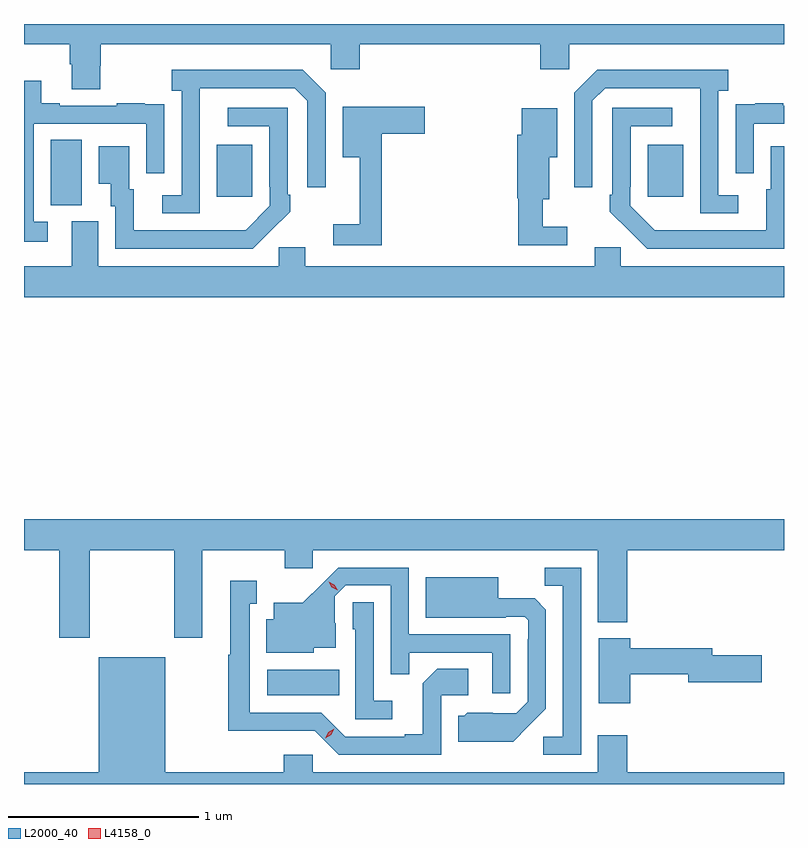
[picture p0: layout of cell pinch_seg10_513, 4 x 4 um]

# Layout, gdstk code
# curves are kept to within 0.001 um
import gdstk
lib = gdstk.Library(unit=1e-6, precision=1e-09)
def R(c, l, rs):  # rectangles x0, y0, x1, y1
    for r in rs: c.add(gdstk.rectangle(r[:2], r[2:], *l))
def P(c, l, *ps):  # polygons
    for p in ps: c.add(gdstk.Polygon(p, *l))
L2000_40 = (2000, 40)
L4158_0 = (4158, 0)

pinch_seg10_513 = lib.new_cell('pinch_seg10_513')
R(pinch_seg10_513, L2000_40, [(388.902,1267.586,389.282,1267.72), (387.764,1270.165,387.928,1270.508), (388.637,1270.209,388.825,1270.483), (390.905,1270.209,391.093,1270.483)])
P(pinch_seg10_513, L2000_40, [(388.023,1270.899),(388.028,1270.899),(388.028,1271.012),(389.238,1271.012),(389.238,1270.881),(389.39,1270.881),(389.39,1271.012),(390.341,1271.012),(390.341,1270.881),(390.492,1270.881),(390.492,1271.012),(391.623,1271.012),(391.623,1271.118),(387.623,1271.118),(387.623,1271.012),(387.863,1271.012),(387.863,1270.906),(387.875,1270.906),(387.875,1270.774),(388.023,1270.774)],
  [(391.381,1270.218),(391.278,1270.218),(391.278,1270.766),(391.33,1270.766),(391.33,1270.876),(390.64,1270.876),(390.519,1270.755),(390.519,1270.26),(390.615,1270.26),(390.615,1270.713),(390.681,1270.779),(391.181,1270.779),(391.182,1270.122),(391.381,1270.122)],
  [(388.548,1270.579),(388.549,1270.779),(389.049,1270.779),(389.115,1270.713),(389.115,1270.26),(389.211,1270.26),(389.211,1270.755),(389.09,1270.876),(388.401,1270.876),(388.401,1270.766),(388.452,1270.766),(388.452,1270.218),(388.35,1270.218),(388.35,1270.122),(388.548,1270.122)],
  [(387.748,1270.077),(387.675,1270.077),(387.675,1270.593),(388.266,1270.593),(388.266,1270.332),(388.362,1270.332),(388.362,1270.586),(388.361,1270.586),(388.361,1270.695),(388.259,1270.695),(388.259,1270.702),(388.111,1270.702),(388.111,1270.689),(387.811,1270.689),(387.811,1270.702),(387.715,1270.702),(387.715,1270.819),(387.623,1270.819),(387.623,1269.972),(387.748,1269.972)],
  [(391.464,1270.593),(391.623,1270.593),(391.623,1270.689),(391.619,1270.689),(391.619,1270.702),(391.471,1270.702),(391.471,1270.695),(391.369,1270.695),(391.369,1270.586),(391.368,1270.586),(391.368,1270.332),(391.464,1270.332)],
  [(389.507,1270.541),(389.731,1270.541),(389.731,1270.683),(389.3,1270.683),(389.3,1270.418),(389.39,1270.418),(389.39,1270.063),(389.25,1270.063),(389.25,1269.954),(389.507,1269.954)],
  [(388.919,1270.027),(388.92,1270.026),(389.025,1270.131),(389.025,1270.219),(389.01,1270.219),(389.01,1270.677),(388.695,1270.677),(388.695,1270.581),(388.914,1270.581),(388.914,1270.261),(388.917,1270.261),(388.917,1270.161),(388.789,1270.033),(388.201,1270.032),(388.201,1270.248),(388.177,1270.248),(388.177,1270.474),(388.016,1270.474),(388.016,1270.277),(388.079,1270.277),(388.079,1270.158),(388.104,1270.158),(388.104,1269.936),(388.828,1269.936)],
  [(391.623,1270.474),(391.553,1270.474),(391.553,1270.248),(391.529,1270.248),(391.529,1270.032),(390.942,1270.033),(390.813,1270.161),(390.813,1270.261),(390.816,1270.261),(390.816,1270.581),(391.036,1270.581),(391.036,1270.677),(390.72,1270.677),(390.72,1270.219),(390.705,1270.219),(390.705,1270.131),(390.902,1269.936),(391.623,1269.936)],
  [(390.481,1270.051),(390.352,1270.051),(390.352,1270.196),(390.388,1270.196),(390.388,1270.418),(390.43,1270.418),(390.43,1270.675),(390.242,1270.675),(390.242,1270.536),(390.218,1270.536),(390.218,1270.2),(390.223,1270.2),(390.223,1269.954),(390.481,1269.954)],
  [(391.623,1269.844),(390.765,1269.844),(390.765,1269.942),(390.626,1269.942),(390.626,1269.844),(389.104,1269.844),(389.104,1269.942),(388.965,1269.942),(388.965,1269.844),(388.015,1269.844),(388.015,1270.08),(387.875,1270.08),(387.875,1269.844),(387.623,1269.844),(387.623,1269.68),(391.623,1269.68)],
  [(387.969,1268.348),(388.414,1268.348),(388.414,1267.887),(388.561,1267.887),(388.561,1268.348),(388.996,1268.348),(388.996,1268.253),(389.142,1268.253),(389.142,1268.348),(390.644,1268.348),(390.644,1267.97),(390.797,1267.97),(390.797,1268.348),(391.623,1268.348),(391.623,1268.512),(387.623,1268.512),(387.623,1268.348),(387.809,1268.348),(387.809,1267.887),(387.969,1267.887)],
  [(390.183,1267.905),(389.649,1267.905),(389.649,1268.256),(389.276,1268.256),(389.089,1268.071),(388.937,1268.071),(388.937,1267.984),(388.898,1267.984),(388.898,1267.808),(389.148,1267.808),(389.148,1267.835),(389.263,1267.835),(389.263,1267.964),(389.259,1267.964),(389.259,1268.106),(389.316,1268.163),(389.553,1268.163),(389.553,1267.696),(389.651,1267.696),(389.651,1267.809),(390.087,1267.809),(390.087,1267.596),(390.183,1267.596)],
  [(390.555,1268.256),(390.364,1268.256),(390.364,1268.161),(390.459,1268.161),(390.459,1267.368),(390.357,1267.368),(390.357,1267.272),(390.555,1267.272)],
  [(390.277,1267.421),(390.369,1267.514),(390.369,1268.036),(390.31,1268.095),(390.118,1268.095),(390.118,1268.206),(389.738,1268.206),(389.738,1267.994),(390.158,1267.994),(390.158,1267.998),(390.258,1267.998),(390.276,1267.98),(390.276,1267.88),(390.273,1267.88),(390.273,1267.551),(390.213,1267.491),(389.956,1267.492),(389.94,1267.476),(389.909,1267.476),(389.909,1267.34),(390.197,1267.34)],
  [(389.82,1267.584),(389.962,1267.584),(389.962,1267.724),(389.797,1267.724),(389.721,1267.648),(389.721,1267.381),(389.627,1267.381),(389.627,1267.368),(389.313,1267.368),(389.187,1267.494),(388.81,1267.494),(388.81,1268.067),(388.849,1268.067),(388.849,1268.188),(388.709,1268.188),(388.709,1267.799),(388.699,1267.799),(388.699,1267.397),(389.154,1267.398),(389.28,1267.272),(389.82,1267.272)],
  [(389.56,1267.555),(389.463,1267.555),(389.463,1268.075),(389.352,1268.075),(389.352,1267.932),(389.367,1267.932),(389.367,1267.458),(389.56,1267.458)],
  [(390.814,1267.696),(391.118,1267.696),(391.118,1267.654),(391.507,1267.654),(391.507,1267.796),(391.246,1267.796),(391.246,1267.832),(390.814,1267.832),(390.814,1267.885),(390.647,1267.885),(390.647,1267.542),(390.814,1267.542)],
  [(388.016,1267.18),(387.623,1267.18),(387.623,1267.118),(391.623,1267.118),(391.623,1267.18),(390.797,1267.18),(390.797,1267.375),(390.644,1267.375),(390.644,1267.18),(389.142,1267.18),(389.142,1267.273),(388.991,1267.273),(388.991,1267.18),(388.366,1267.18),(388.366,1267.786),(388.016,1267.786)])
P(pinch_seg10_513, L4158_0, [(389.274,1268.138),(389.243,1268.153),(389.226,1268.182),(389.226,1268.183),(389.227,1268.183),(389.257,1268.167),(389.274,1268.138),(389.274,1268.138)],
  [(389.208,1267.359),(389.208,1267.359),(389.225,1267.391),(389.257,1267.41),(389.257,1267.41),(389.257,1267.41),(389.24,1267.378),(389.208,1267.359)])

lib.write_gds('pinch_seg10_513.gds')
